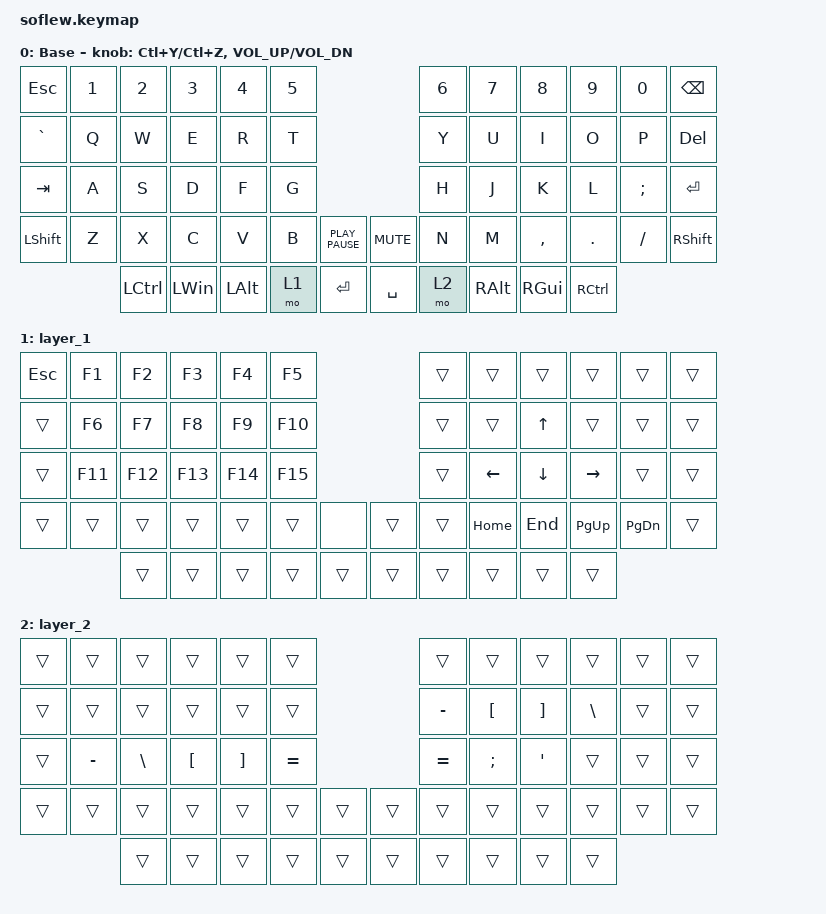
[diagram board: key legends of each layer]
/*
 * Copyright (c) 2020 The ZMK Contributors
 *
 * SPDX-License-Identifier: MIT
 */
// Define layer numbers

#define ___ &trans
#define BASE 0
#define GAME 1
#define MEDIA 2
#define NAV 3
#define MACRO 4
#define SYMBOL 5
#define NUM 6
#define FUNC 7

// ZMK includes

#include <behaviors.dtsi>
#include <dt-bindings/zmk/keys.h>

/ {
    behaviors {
        hrm: hrm {
            label = "hrm";
            compatible = "zmk,behavior-hold-tap";
            #binding-cells = <2>;
            flavor = "balanced";
            tapping-term-ms = <280>;
            quick-tap-ms = <125>;
            global-quick-tap;
            bindings = <&kp>, <&kp>;
        };
    };

    sensors { triggers-per-rotation = <20>; };
};

&left_encoder { steps = <80>; };

&right_encoder { steps = <80>; };

/ {
    keymap {
        compatible = "zmk,keymap";

        default_layer {
            label = "Base";
            bindings = <
&kp ESCAPE  &kp N1  &kp N2            &kp N3        &kp N4        &kp N5                                &kp N6  &kp N7         &kp N8         &kp N9     &kp N0         &kp BACKSPACE
&kp GRAVE   &kp Q   &kp W             &kp E         &kp R         &kp T                                 &kp Y   &kp U          &kp I          &kp O      &kp P          &kp DELETE
&kp TAB     &kp A   &kp S             &kp D         &kp F         &kp G                                 &kp H   &kp J          &kp K          &kp L      &kp SEMICOLON  &kp RET
&kp LSHFT   &kp Z   &kp X             &kp C         &kp V         &kp B   &kp K_PLAY_PAUSE  &kp C_MUTE  &kp N   &kp M          &kp COMMA      &kp DOT    &kp FSLH       &kp RIGHT_SHIFT
                    &kp LEFT_CONTROL  &kp LEFT_WIN  &kp LEFT_ALT  &mo 1   &kp RETURN        &kp SPACE   &mo 2   &kp RIGHT_ALT  &kp RIGHT_GUI  &kp RCTRL
            >;

            sensor-bindings = <&inc_dec_kp LC(Y) LC(Z) &inc_dec_kp C_VOLUME_UP C_VOL_DN>;
        };

        layer_1 {
            label = "layer_1";
            bindings = <
&kp ESCAPE  &kp F1   &kp F2   &kp F3   &kp F4   &kp F5                   &trans  &trans          &trans        &trans           &trans         &trans
&trans      &kp F6   &kp F7   &kp F8   &kp F9   &kp F10                  &trans  &trans          &kp UP_ARROW  &trans           &trans         &trans
&trans      &kp F11  &kp F12  &kp F13  &kp F14  &kp F15                  &trans  &kp LEFT_ARROW  &kp DOWN      &kp RIGHT_ARROW  &trans         &trans
&trans      &trans   &trans   &trans   &trans   &trans   &none   &trans  &trans  &kp HOME        &kp END       &kp PAGE_UP      &kp PAGE_DOWN  &trans
                     &trans   &trans   &trans   &trans   &trans  &trans  &trans  &trans          &trans        &trans
            >;
        };

        layer_2 {
            label = "layer_2";
            bindings = <
&trans  &trans     &trans         &trans            &trans             &trans                     &trans     &trans            &trans             &trans         &trans  &trans
&trans  &trans     &trans         &trans            &trans             &trans                     &kp MINUS  &kp LEFT_BRACKET  &kp RIGHT_BRACKET  &kp BACKSLASH  &trans  &trans
&trans  &kp MINUS  &kp BACKSLASH  &kp LEFT_BRACKET  &kp RIGHT_BRACKET  &kp EQUAL                  &kp EQUAL  &kp SEMICOLON     &kp SQT            &trans         &trans  &trans
&trans  &trans     &trans         &trans            &trans             &trans     &trans  &trans  &trans     &trans            &trans             &trans         &trans  &trans
                   &trans         &trans            &trans             &trans     &trans  &trans  &trans     &trans            &trans             &trans
            >;
        };
    };
};
